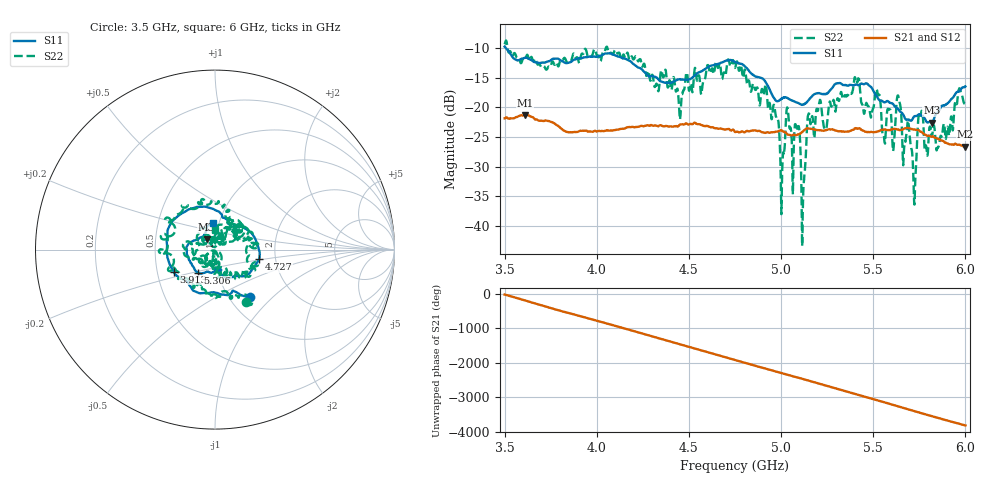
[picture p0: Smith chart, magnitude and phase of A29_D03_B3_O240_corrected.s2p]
! Created with skrf 1.9.0 (http://scikit-rf.org).
# Hz S RI R 50.0
!freq ReS11 ImS11 ReS21 ImS21 ReS12 ImS12 ReS22 ImS22
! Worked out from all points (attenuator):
!   1601 points, 3.5 GHz to 6 GHz, reference 50 ohm
!   highest |S21| = -21.30 dB at 3.611 GHz (marker M1); lowest = -26.7 dB at 5.998 GHz (marker M2)
!   lowest |S11| = -22.6 dB at 5.817 GHz (marker M3), VSWR 1.16, Z = 45.3 + j5.26 ohm
!   |S11| at or under -10 dB: 3.508 GHz to end of sweep
!   |S22| runs from -43.5 to -8.7 dB; largest |S21 - S12| = 0.00098
!   S11 on the Smith chart (normalised r, x): 3.5 GHz: 1.24, -0.73; 3.913 GHz: 0.61, -0.16; 4.727 GHz: 1.64, -0.18; 5.306 GHz: 0.80, -0.21; 6 GHz: 0.94, +0.29
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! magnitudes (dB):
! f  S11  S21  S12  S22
! 3.5 GHz  -9.7  -21.9  -21.9  -9.3
! 3.611 GHz  -11.6  -21.3  -21.3  -11.7
! 3.913 GHz  -11.7  -24.0  -23.9  -11.5
! 3.917 GHz  -11.7  -24.0  -24.0  -11.0
! 4.334 GHz  -15.3  -23.2  -23.1  -17.3
! 4.727 GHz  -12.0  -23.9  -23.8  -13.0
! 4.75 GHz  -12.3  -24.2  -24.1  -13.3
! 4.969 GHz  -18.7  -24.1  -24.1  -21.0
! 5.006 GHz  -18.5  -24.0  -23.9  -30.4
! 5.034 GHz  -18.4  -24.6  -24.5  -20.1
! 5.088 GHz  -19.2  -24.6  -24.6  -23.7
! 5.12 GHz  -19.5  -24.0  -23.9  -34.3
! 5.167 GHz  -18.1  -23.6  -23.6  -21.6
! 5.306 GHz  -15.9  -24.0  -23.9  -18.5
! 5.584 GHz  -19.1  -23.8  -23.8  -20.3
! 5.611 GHz  -19.6  -23.6  -23.6  -26.7
! 5.639 GHz  -20.5  -23.8  -23.8  -18.5
! 5.722 GHz  -21.5  -23.7  -23.7  -35.9
! 5.755 GHz  -21.2  -24.1  -24.0  -21.3
! 5.817 GHz  -22.6  -24.9  -24.9  -25.0
! 5.998 GHz  -16.5  -26.7  -26.6  -19.4
! 6 GHz  -16.5  -26.7  -26.6  -19.4
